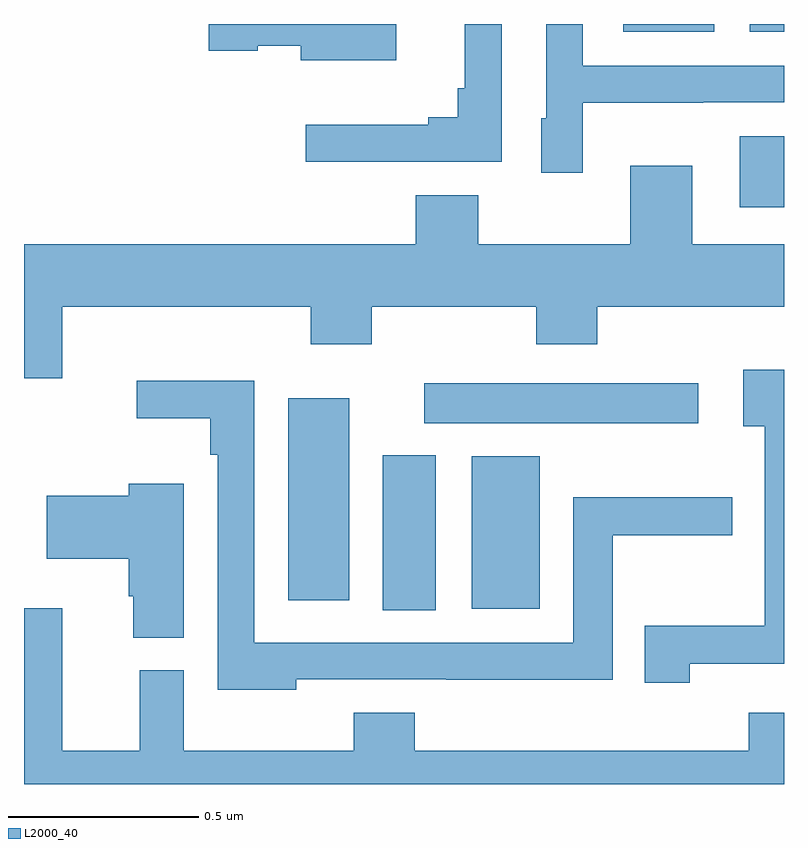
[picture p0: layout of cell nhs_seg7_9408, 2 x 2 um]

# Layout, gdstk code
import gdstk
lib = gdstk.Library(unit=1e-6, precision=1e-09)
def R(c, l, rs):  # rectangles x0, y0, x1, y1
    for r in rs: c.add(gdstk.rectangle(r[:2], r[2:], *l))
def P(c, l, *ps):  # polygons
    for p in ps: c.add(gdstk.Polygon(p, *l))
L2000_40 = (2000, 40)

nhs_seg7_9408 = lib.new_cell('nhs_seg7_9408')
R(nhs_seg7_9408, L2000_40, [(237.944,1026.457,238.084,1026.865), (238.178,1026.461,238.357,1026.862), (237.695,1026.483,237.856,1027.015), (238.053,1026.95,238.774,1027.054), (238.883,1027.518,239,1027.704), (238.577,1027.979,238.816,1028), (238.91,1027.979,239,1028)])
P(nhs_seg7_9408, L2000_40, [(237.979,1028),(237.486,1028),(237.486,1027.93),(237.615,1027.93),(237.615,1027.943),(237.728,1027.943),(237.728,1027.904),(237.979,1027.904)],
  [(238.257,1028),(238.16,1028),(238.16,1027.831),(238.141,1027.831),(238.141,1027.754),(238.064,1027.754),(238.064,1027.735),(237.741,1027.735),(237.741,1027.638),(238.257,1027.638)],
  [(238.47,1027.793),(238.787,1027.793),(238.787,1027.794),(239,1027.794),(239,1027.89),(238.47,1027.89),(238.47,1028),(238.374,1028),(238.374,1027.752),(238.361,1027.752),(238.361,1027.608),(238.47,1027.608)],
  [(237.1,1027.256),(237.755,1027.256),(237.755,1027.157),(237.915,1027.157),(237.915,1027.256),(238.348,1027.256),(238.348,1027.157),(238.508,1027.157),(238.508,1027.256),(239,1027.256),(239,1027.42),(238.759,1027.42),(238.759,1027.627),(238.595,1027.627),(238.595,1027.42),(238.195,1027.42),(238.195,1027.549),(238.031,1027.549),(238.031,1027.42),(237,1027.42),(237,1027.068),(237.1,1027.068)],
  [(238.752,1026.317),(239,1026.317),(239,1027.09),(238.893,1027.09),(238.893,1026.941),(238.949,1026.941),(238.949,1026.417),(238.634,1026.417),(238.634,1026.267),(238.752,1026.267)],
  [(237.717,1026.276),(238.111,1026.276),(238.111,1026.275),(238.549,1026.275),(238.549,1026.655),(238.864,1026.655),(238.864,1026.755),(238.445,1026.755),(238.445,1026.372),(237.606,1026.372),(237.606,1027.061),(237.297,1027.061),(237.297,1026.962),(237.49,1026.962),(237.49,1026.866),(237.51,1026.866),(237.51,1026.248),(237.717,1026.248)],
  [(237.421,1026.79),(237.275,1026.79),(237.275,1026.759),(237.06,1026.759),(237.06,1026.593),(237.275,1026.593),(237.275,1026.494),(237.287,1026.494),(237.287,1026.385),(237.421,1026.385)],
  [(239,1026.187),(238.907,1026.187),(238.907,1026.088),(238.028,1026.088),(238.028,1026.187),(237.868,1026.187),(237.868,1026.088),(237.421,1026.088),(237.421,1026.3),(237.305,1026.3),(237.305,1026.088),(237.1,1026.088),(237.1,1026.463),(237,1026.463),(237,1026),(239,1026)])

lib.write_gds('nhs_seg7_9408.gds')
